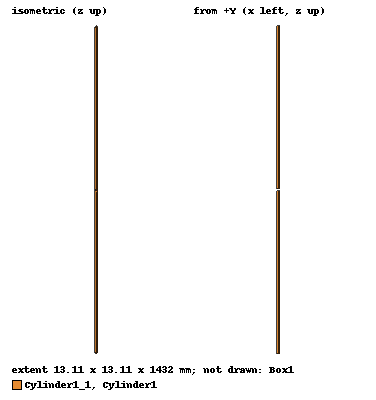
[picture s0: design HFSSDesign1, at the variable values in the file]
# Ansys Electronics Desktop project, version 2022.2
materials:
  vacuum: permittivity=1
  copper: permeability=0.999991 conductivity=58000000
  air: permittivity=1.0006 permeability=1.0000004

design HFSSDesign1 (HFSS, DrivenModal, model units mm)
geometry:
  Cylinder1 [copper] = cylinder(axis=Z, base_centre=(0mm, 0mm, 3mm), radius=6.5555mm, height=712.858mm)
  Cylinder1_1 [copper] = Cylinder1.duplicate_around_axis(axis=Y, angle=180deg, total=2)
  Box1 [air] = box(corner=(-1000mm, -1000mm, -1000mm), size=(4000mm, 3000mm, 3000mm))
  Rectangle1 = rectangle(corner=(0mm, -5mm, 3mm), y_size=10mm, z_size=-6mm)
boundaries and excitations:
  Rad1: Radiation Objects=Box1
  1: Lumped Port Objects=Rectangle1 Modes{Mode1{IntLine{(0, 0, -3) -> (0, 0, 3)} CharImp=Zpi RenormImp=73ohm}} Impedance=50ohm
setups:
  Setup1: HfssDriven Frequency=98MHz MaxDeltaS=0.02 MaximumPasses=6 MinimumPasses=1 MinimumConvergedPasses=1 PercentRefinement=30 BasisOrder=1 PortAccuracy=2 DrivenSolverType="Direct Solver"
    sweep Sweep: 88MHz to 108MHz step 0.1MHz; Type=Fast SaveFields
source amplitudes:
  1:1: 1W 0deg
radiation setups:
  Infinite Sphere1: Infinite Sphere Theta=0deg..180deg step 2deg Phi=-180deg..180deg step 2deg
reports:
  S Parameter Plot 1: dB(S(1,1)) vs Freq on Setup1 : Sweep
  Gain Plot 1: dB(GainTotal) vs Phi, Theta on Setup1 : LastAdaptive, Infinite Sphere1 [Freq=0.098GHz]
  S Parameter Plot 2: dB(S(1,1)) vs Freq on Setup1 : Sweep
  S Parameter Plot 3: dB(S(1,1)) vs Freq on Setup1 : Sweep
